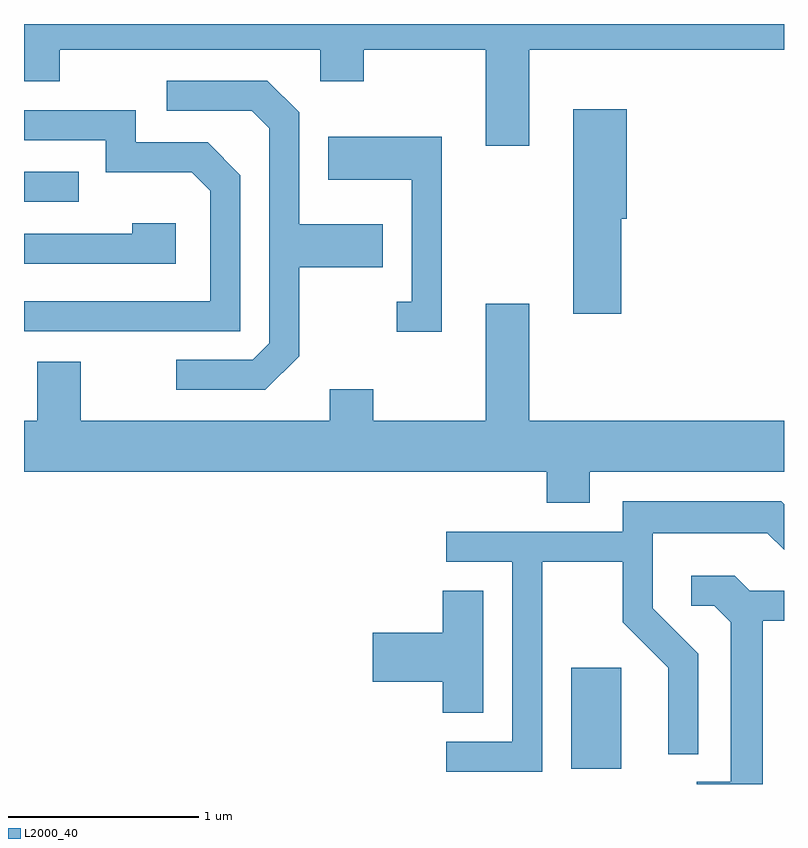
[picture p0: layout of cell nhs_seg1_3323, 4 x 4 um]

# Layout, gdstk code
import gdstk
lib = gdstk.Library(unit=1e-6, precision=1e-09)
def R(c, l, rs):  # rectangles x0, y0, x1, y1
    for r in rs: c.add(gdstk.rectangle(r[:2], r[2:], *l))
def P(c, l, *ps):  # polygons
    for p in ps: c.add(gdstk.Polygon(p, *l))
L2000_40 = (2000, 40)

nhs_seg1_3323 = lib.new_cell('nhs_seg1_3323')
R(nhs_seg1_3323, L2000_40, [(288.491,895.791,288.754,896.324), (285.611,898.776,285.898,898.934)])
P(nhs_seg1_3323, L2000_40, [(285.611,899.411),(285.799,899.411),(285.799,899.576),(287.171,899.576),(287.171,899.411),(287.399,899.411),(287.399,899.576),(288.041,899.576),(288.041,899.071),(288.269,899.071),(288.269,899.576),(289.611,899.576),(289.611,899.712),(285.611,899.712)],
  [(287.059,897.964),(287.059,898.431),(287.499,898.431),(287.499,898.659),(287.059,898.659),(287.059,899.247),(286.892,899.414),(286.363,899.414),(286.363,899.256),(286.809,899.256),(286.901,899.164),(286.901,898.032),(286.814,897.944),(286.413,897.944),(286.413,897.786),(286.882,897.786)],
  [(288.754,898.686),(288.784,898.686),(288.784,899.264),(288.501,899.264),(288.501,898.186),(288.754,898.186)],
  [(286.749,898.917),(286.577,899.089),(286.199,899.089),(286.199,899.259),(285.611,899.259),(285.611,899.101),(286.041,899.101),(286.041,898.931),(286.494,898.931),(286.591,898.834),(286.591,898.254),(285.611,898.254),(285.611,898.096),(286.749,898.096)],
  [(287.809,899.119),(287.211,899.119),(287.211,898.891),(287.651,898.891),(287.651,898.249),(287.573,898.249),(287.573,898.091),(287.809,898.091)],
  [(286.409,898.664),(286.181,898.664),(286.181,898.609),(285.611,898.609),(285.611,898.451),(286.409,898.451)],
  [(287.221,897.789),(287.221,897.624),(285.909,897.624),(285.909,897.934),(285.681,897.934),(285.681,897.624),(285.611,897.624),(285.611,897.356),(288.361,897.356),(288.361,897.191),(288.589,897.191),(288.589,897.356),(289.611,897.356),(289.611,897.624),(288.269,897.624),(288.269,898.239),(288.041,898.239),(288.041,897.624),(287.449,897.624),(287.449,897.789)],
  [(288.339,896.881),(288.761,896.881),(288.761,896.564),(289.001,896.324),(289.001,895.868),(289.159,895.868),(289.159,896.397),(288.919,896.637),(288.919,897.031),(289.524,897.031),(289.611,896.944),(289.611,897.185),(289.597,897.199),(288.761,897.199),(288.761,897.039),(287.833,897.039),(287.833,896.881),(288.181,896.881),(288.181,895.934),(287.833,895.934),(287.833,895.776),(288.339,895.776)],
  [(289.499,896.571),(289.611,896.571),(289.611,896.729),(289.432,896.729),(289.352,896.809),(289.123,896.809),(289.123,896.651),(289.244,896.651),(289.331,896.564),(289.331,895.724),(289.153,895.724),(289.153,895.712),(289.499,895.712)],
  [(288.029,896.729),(287.816,896.729),(287.816,896.509),(287.446,896.509),(287.446,896.251),(287.816,896.251),(287.816,896.086),(288.029,896.086)])

lib.write_gds('nhs_seg1_3323.gds')
